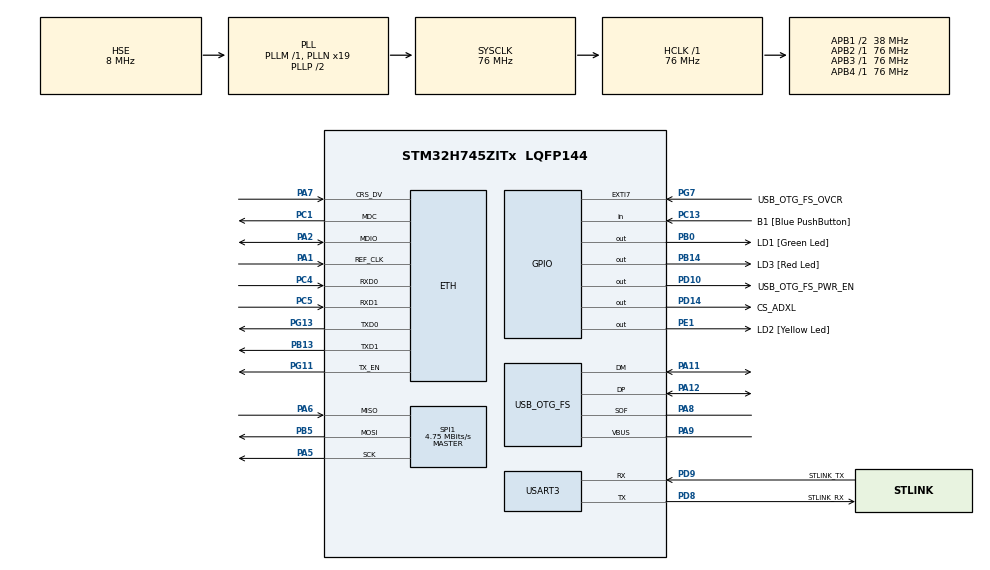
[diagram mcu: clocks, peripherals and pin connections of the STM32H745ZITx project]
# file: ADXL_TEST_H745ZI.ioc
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CortexM4.IPs=FATFS_M4\:I,FREERTOS_M4\:I,IWDG2\:I,RCC,WWDG2\:I,DMA,BDMA,MDMA,NVIC2\:I,USART3,ETH,DEBUG,USB_DEVICE_M4\:I,USB_HOST_M4\:I,PDM2PCM_M4\:I,PWR,RESMGR_UTILITY,SYS_M4\:I,CORTEX_M4\:I,OPENAMP_M4\:I,VREFBUF,GPIO
CortexM7.IPs=FATFS_M7\:I,FREERTOS_M7\:I,IWDG1\:I,RCC\:I,WWDG1\:I,DMA\:I,BDMA\:I,MDMA\:I,NVIC1\:I,SYS\:I,USART3\:I,USB_OTG_FS\:I,ETH\:I,CORTEX_M7\:I,DEBUG\:I,USB_DEVICE_M7\:I,USB_HOST_M7\:I,PDM2PCM_M7\:I,PWR\:I,RESMGR_UTILITY\:I,OPENAMP_M7\:I,VREFBUF\:I,SPI1\:I,GPIO\:I
CortexM7.Pins=PD14
ETH.MediaInterface=HAL_ETH_RMII_MODE
Mcu.Family=STM32H7
Mcu.Name=STM32H745ZITx
Mcu.Package=LQFP144
NVIC1.PriorityGroup=NVIC_PRIORITYGROUP_4
NVIC2.PriorityGroup=NVIC_PRIORITYGROUP_4
PA1.Mode=RMII
PA1.PinAttribute=CortexM7
PA1.Signal=ETH_REF_CLK
PA11.Mode=Device_Only
PA11.PinAttribute=CortexM7
PA11.Signal=USB_OTG_FS_DM
PA12.Mode=Device_Only
PA12.PinAttribute=CortexM7
PA12.Signal=USB_OTG_FS_DP
PA2.Mode=RMII
PA2.PinAttribute=CortexM7
PA2.Signal=ETH_MDIO
PA5.Mode=Full_Duplex_Master
PA5.PinAttribute=CortexM7
PA5.Signal=SPI1_SCK
PA6.Mode=Full_Duplex_Master
PA6.PinAttribute=CortexM7
PA6.Signal=SPI1_MISO
PA7.Mode=RMII
PA7.PinAttribute=CortexM7
PA7.Signal=ETH_CRS_DV
PA8.Mode=Activate_SOF_FS
PA8.PinAttribute=CortexM7
PA8.Signal=USB_OTG_FS_SOF
PA9.Mode=Activate_VBUS
PA9.PinAttribute=CortexM7
PA9.Signal=USB_OTG_FS_VBUS
PB0.GPIO_Label=LD1 [Green Led]
PB0.PinAttribute=Free
PB0.Signal=GPIO_Output
PB13.Mode=RMII
PB13.PinAttribute=CortexM7
PB13.Signal=ETH_TXD1
PB14.GPIO_Label=LD3 [Red Led]
PB14.PinAttribute=Free
PB14.Signal=GPIO_Output
PB5.Mode=Full_Duplex_Master
PB5.PinAttribute=CortexM7
PB5.Signal=SPI1_MOSI
PC1.Mode=RMII
PC1.PinAttribute=CortexM7
PC1.Signal=ETH_MDC
PC13.GPIO_Label=B1 [Blue PushButton]
PC13.PinAttribute=Free
PC13.Signal=GPIO_Input
PC14-OSC32_IN\ (OSC32_IN).Mode=LSE-External-Oscillator
PC14-OSC32_IN\ (OSC32_IN).PinAttribute=CortexM7
PC14-OSC32_IN\ (OSC32_IN).Signal=RCC_OSC32_IN
PC15-OSC32_OUT\ (OSC32_OUT).Mode=LSE-External-Oscillator
PC15-OSC32_OUT\ (OSC32_OUT).PinAttribute=CortexM7
PC15-OSC32_OUT\ (OSC32_OUT).Signal=RCC_OSC32_OUT
PC4.Mode=RMII
PC4.PinAttribute=CortexM7
PC4.Signal=ETH_RXD0
PC5.Mode=RMII
PC5.PinAttribute=CortexM7
PC5.Signal=ETH_RXD1
PD10.GPIO_Label=USB_OTG_FS_PWR_EN
PD10.PinAttribute=Free
PD10.Signal=GPIO_Output
PD14.GPIO_Label=CS_ADXL
PD14.PinAttribute=CortexM7
PD14.PinState=GPIO_PIN_RESET
PD14.Signal=GPIO_Output
PD8.GPIO_Label=STLINK_RX
PD8.Mode=Asynchronous
PD8.PinAttribute=CortexM7
PD8.Signal=USART3_TX
PD9.GPIO_Label=STLINK_TX
PD9.Mode=Asynchronous
PD9.PinAttribute=CortexM7
PD9.Signal=USART3_RX
PE1.GPIO_Label=LD2 [Yellow Led]
PE1.PinAttribute=Free
PE1.Signal=GPIO_Output
PG11.Mode=RMII
PG11.PinAttribute=CortexM7
PG11.Signal=ETH_TX_EN
PG13.Mode=RMII
PG13.PinAttribute=CortexM7
PG13.Signal=ETH_TXD0
PG7.GPIO_Label=USB_OTG_FS_OVCR
PG7.PinAttribute=Free
PG7.Signal=GPXTI7
PH0-OSC_IN\ (PH0).Mode=HSE-External-Clock-Source
PH0-OSC_IN\ (PH0).PinAttribute=CortexM7
PH0-OSC_IN\ (PH0).Signal=RCC_OSC_IN
PH1-OSC_OUT\ (PH1).PinAttribute=CortexM7
PH1-OSC_OUT\ (PH1).Signal=RCC_OSC_OUT
ProjectManager.HeapSize=M4-0x200,M7-0x200
ProjectManager.StackSize=M4-0x400,M7-0x400
ProjectManager.TargetToolchain=STM32CubeIDE
RCC.ADCFreq_Value=16125000
RCC.APB1Freq_Value=38000000
RCC.APB2Freq_Value=76000000
RCC.APB3Freq_Value=76000000
RCC.APB4Freq_Value=76000000
RCC.CortexFreq_Value=76000000
RCC.D2PPRE1=RCC_APB1_DIV2
RCC.DATA_CACHE_ENABLE=0
RCC.DIVM1=1
RCC.DIVM3=1
RCC.DIVN1=19
RCC.DIVN3=19
RCC.DIVQ3=3
RCC.HCLKFreq_Value=76000000
RCC.HSE_VALUE=8000000
RCC.INSTRUCTION_CACHE_ENABLE=0
RCC.PREFETCH_ENABLE=1
RCC.SYSCLKFreq_VALUE=76000000
RCC.SYSCLKSource=RCC_SYSCLKSOURCE_PLLCLK
RCC.SupplySource=PWR_DIRECT_SMPS_SUPPLY
RCC.USBCLockSelection=RCC_USBCLKSOURCE_PLL3
RCC.USBFreq_Value=50666666.666666664
SPI1.BaudRatePrescaler=SPI_BAUDRATEPRESCALER_16
SPI1.CalculateBaudRate=4.75 MBits/s
SPI1.DataSize=SPI_DATASIZE_8BIT
SPI1.Direction=SPI_DIRECTION_2LINES
SPI1.Mode=SPI_MODE_MASTER
SPI1.VirtualType=VM_MASTER
USART3.VirtualMode-Asynchronous=VM_ASYNC
USB_OTG_FS.VirtualMode=Device_Only
VP_SYS_M4_VS_Systick.Mode=SysTick
board=NUCLEO-H745ZI-Q

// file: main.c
/* USER CODE BEGIN Header */
/**
  ******************************************************************************
  * @file           : main.c
  * @brief          : Main program body
  ******************************************************************************
  * @attention
  *
  * Copyright (c) 2022 STMicroelectronics.
  * All rights reserved.
  *
  * This software is licensed under terms that can be found in the LICENSE file
  * in the root directory of this software component.
  * If no LICENSE file comes with this software, it is provided AS-IS.
  *
  ******************************************************************************
  */
/* USER CODE END Header */
#include "main.h"
#include "string.h"

/* USER CODE BEGIN Includes */
#include "stdlib.h"
#include "stdio.h"
#include "math.h"
#include "ADXL355.h"
/* USER CODE END Includes */

/* USER CODE BEGIN PD */

#ifndef HSEM_ID_0
#define HSEM_ID_0 (0U) /* HW semaphore 0*/
#endif
/* USER CODE END PD */

#if defined ( __ICCARM__ ) /*!< IAR Compiler */
#pragma location=0x30000000
ETH_DMADescTypeDef  DMARxDscrTab[ETH_RX_DESC_CNT]; /* Ethernet Rx DMA Descriptors */
#pragma location=0x30000200
ETH_DMADescTypeDef  DMATxDscrTab[ETH_TX_DESC_CNT]; /* Ethernet Tx DMA Descriptors */
#pragma location=0x30000260
uint8_t Rx_Buff[ETH_RX_DESC_CNT][ETH_MAX_PACKET_SIZE]; /* Ethernet Receive Buffers */

#elif defined ( __CC_ARM )  /* MDK ARM Compiler */

__attribute__((at(0x30000000))) ETH_DMADescTypeDef  DMARxDscrTab[ETH_RX_DESC_CNT]; /* Ethernet Rx DMA Descriptors */
__attribute__((at(0x30000200))) ETH_DMADescTypeDef  DMATxDscrTab[ETH_TX_DESC_CNT]; /* Ethernet Tx DMA Descriptors */
__attribute__((at(0x30000260))) uint8_t Rx_Buff[ETH_RX_DESC_CNT][ETH_MAX_PACKET_SIZE]; /* Ethernet Receive Buffer */

#elif defined ( __GNUC__ ) /* GNU Compiler */
ETH_DMADescTypeDef DMARxDscrTab[ETH_RX_DESC_CNT] __attribute__((section(".RxDecripSection"))); /* Ethernet Rx DMA Descriptors */
ETH_DMADescTypeDef DMATxDscrTab[ETH_TX_DESC_CNT] __attribute__((section(".TxDecripSection")));   /* Ethernet Tx DMA Descriptors */
uint8_t Rx_Buff[ETH_RX_DESC_CNT][ETH_MAX_PACKET_SIZE] __attribute__((section(".RxArraySection"))); /* Ethernet Receive Buffers */
#endif

ETH_TxPacketConfig TxConfig;

ETH_HandleTypeDef heth;

SPI_HandleTypeDef hspi1;

UART_HandleTypeDef huart3;

PCD_HandleTypeDef hpcd_USB_OTG_FS;

void SystemClock_Config(void);
static void MX_GPIO_Init(void);
static void MX_ETH_Init(void);
static void MX_USART3_UART_Init(void);
static void MX_USB_OTG_FS_PCD_Init(void);
static void MX_SPI1_Init(void);

int main(void)
{
/* USER CODE BEGIN Boot_Mode_Sequence_0 */
  int32_t timeout;
/* USER CODE END Boot_Mode_Sequence_0 */

/* USER CODE BEGIN Boot_Mode_Sequence_1 */
  /* Wait until CPU2 boots and enters in stop mode or timeout*/
  timeout = 0xFFFF;
  while((__HAL_RCC_GET_FLAG(RCC_FLAG_D2CKRDY) != RESET) && (timeout-- > 0));
  if ( timeout < 0 )
  {
  Error_Handler();
  }
/* USER CODE END Boot_Mode_Sequence_1 */
  /* MCU Configuration--------------------------------------------------------*/

  /* Reset of all peripherals, Initializes the Flash interface and the Systick. */
  HAL_Init();

  /* Configure the system clock */
  SystemClock_Config();
/* USER CODE BEGIN Boot_Mode_Sequence_2 */
/* When system initialization is finished, Cortex-M7 will release Cortex-M4 by means of
HSEM notification */
/*HW semaphore Clock enable*/
__HAL_RCC_HSEM_CLK_ENABLE();
/*Take HSEM */
HAL_HSEM_FastTake(HSEM_ID_0);
/*Release HSEM in order to notify the CPU2(CM4)*/
HAL_HSEM_Release(HSEM_ID_0,0);
/* wait until CPU2 wakes up from stop mode */
timeout = 0xFFFF;
while((__HAL_RCC_GET_FLAG(RCC_FLAG_D2CKRDY) == RESET) && (timeout-- > 0));
if ( timeout < 0 )
{
Error_Handler();
}
/* USER CODE END Boot_Mode_Sequence_2 */

  /* Initialize all configured peripherals */
  MX_GPIO_Init();
  MX_ETH_Init();
  MX_USART3_UART_Init();
  MX_USB_OTG_FS_PCD_Init();
  MX_SPI1_Init();
  /* USER CODE BEGIN 2 */

  // CS should be default set HIGH
  HAL_GPIO_WritePin(GPIOD, GPIO_PIN_14, GPIO_PIN_SET);

  // Initialize the ADXL355
  ADXL355_Init();

  // Set ADXL355 range (2, 4 or 8 g)
  ADXL355_Set_Range(2);

  // Set the ADXL355 in measurement mode
  ADXL355_Start_Sensor();

  /* USER CODE END 2 */

  /* Infinite loop */
  /* USER CODE BEGIN WHILE */
  while (1)
  {
	  ADXL355_Data_Scan();

    /* USER CODE END WHILE */

  }
}

void SystemClock_Config(void)
{
  RCC_OscInitTypeDef RCC_OscInitStruct = {0};
  RCC_ClkInitTypeDef RCC_ClkInitStruct = {0};

  /** Supply configuration update enable
  */
  HAL_PWREx_ConfigSupply(PWR_DIRECT_SMPS_SUPPLY);

  /** Configure the main internal regulator output voltage
  */
  __HAL_PWR_VOLTAGESCALING_CONFIG(PWR_REGULATOR_VOLTAGE_SCALE3);

  while(!__HAL_PWR_GET_FLAG(PWR_FLAG_VOSRDY)) {}

  /** Macro to configure the PLL clock source
  */
  __HAL_RCC_PLL_PLLSOURCE_CONFIG(RCC_PLLSOURCE_HSE);

  /** Initializes the RCC Oscillators according to the specified parameters
  * in the RCC_OscInitTypeDef structure.
  */
  RCC_OscInitStruct.OscillatorType = RCC_OSCILLATORTYPE_HSE;
  RCC_OscInitStruct.HSEState = RCC_HSE_BYPASS;
  RCC_OscInitStruct.PLL.PLLState = RCC_PLL_ON;
  RCC_OscInitStruct.PLL.PLLSource = RCC_PLLSOURCE_HSE;
  RCC_OscInitStruct.PLL.PLLM = 1;
  RCC_OscInitStruct.PLL.PLLN = 19;
  RCC_OscInitStruct.PLL.PLLP = 2;
  RCC_OscInitStruct.PLL.PLLQ = 2;
  RCC_OscInitStruct.PLL.PLLR = 2;
  RCC_OscInitStruct.PLL.PLLRGE = RCC_PLL1VCIRANGE_3;
  RCC_OscInitStruct.PLL.PLLVCOSEL = RCC_PLL1VCOMEDIUM;
  RCC_OscInitStruct.PLL.PLLFRACN = 0;
  if (HAL_RCC_OscConfig(&RCC_OscInitStruct) != HAL_OK)
  {
    Error_Handler();
  }

  /** Initializes the CPU, AHB and APB buses clocks
  */
  RCC_ClkInitStruct.ClockType = RCC_CLOCKTYPE_HCLK|RCC_CLOCKTYPE_SYSCLK
                              |RCC_CLOCKTYPE_PCLK1|RCC_CLOCKTYPE_PCLK2
                              |RCC_CLOCKTYPE_D3PCLK1|RCC_CLOCKTYPE_D1PCLK1;
  RCC_ClkInitStruct.SYSCLKSource = RCC_SYSCLKSOURCE_PLLCLK;
  RCC_ClkInitStruct.SYSCLKDivider = RCC_SYSCLK_DIV1;
  RCC_ClkInitStruct.AHBCLKDivider = RCC_HCLK_DIV1;
  RCC_ClkInitStruct.APB3CLKDivider = RCC_APB3_DIV1;
  RCC_ClkInitStruct.APB1CLKDivider = RCC_APB1_DIV2;
  RCC_ClkInitStruct.APB2CLKDivider = RCC_APB2_DIV1;
  RCC_ClkInitStruct.APB4CLKDivider = RCC_APB4_DIV1;

  if (HAL_RCC_ClockConfig(&RCC_ClkInitStruct, FLASH_LATENCY_1) != HAL_OK)
  {
    Error_Handler();
  }
}

static void MX_ETH_Init(void)
{

   static uint8_t MACAddr[6];

  heth.Instance = ETH;
  MACAddr[0] = 0x00;
  MACAddr[1] = 0x80;
  MACAddr[2] = 0xE1;
  MACAddr[3] = 0x00;
  MACAddr[4] = 0x00;
  MACAddr[5] = 0x00;
  heth.Init.MACAddr = &MACAddr[0];
  heth.Init.MediaInterface = HAL_ETH_RMII_MODE;
  heth.Init.TxDesc = DMATxDscrTab;
  heth.Init.RxDesc = DMARxDscrTab;
  heth.Init.RxBuffLen = 1524;

  if (HAL_ETH_Init(&heth) != HAL_OK)
  {
    Error_Handler();
  }

  memset(&TxConfig, 0 , sizeof(ETH_TxPacketConfig));
  TxConfig.Attributes = ETH_TX_PACKETS_FEATURES_CSUM | ETH_TX_PACKETS_FEATURES_CRCPAD;
  TxConfig.ChecksumCtrl = ETH_CHECKSUM_IPHDR_PAYLOAD_INSERT_PHDR_CALC;
  TxConfig.CRCPadCtrl = ETH_CRC_PAD_INSERT;

}

static void MX_SPI1_Init(void)
{

  /* SPI1 parameter configuration*/
  hspi1.Instance = SPI1;
  hspi1.Init.Mode = SPI_MODE_MASTER;
  hspi1.Init.Direction = SPI_DIRECTION_2LINES;
  hspi1.Init.DataSize = SPI_DATASIZE_8BIT;
  hspi1.Init.CLKPolarity = SPI_POLARITY_LOW;
  hspi1.Init.CLKPhase = SPI_PHASE_1EDGE;
  hspi1.Init.NSS = SPI_NSS_SOFT;
  hspi1.Init.BaudRatePrescaler = SPI_BAUDRATEPRESCALER_16;
  hspi1.Init.FirstBit = SPI_FIRSTBIT_MSB;
  hspi1.Init.TIMode = SPI_TIMODE_DISABLE;
  hspi1.Init.CRCCalculation = SPI_CRCCALCULATION_DISABLE;
  hspi1.Init.CRCPolynomial = 0x0;
  hspi1.Init.NSSPMode = SPI_NSS_PULSE_ENABLE;
  hspi1.Init.NSSPolarity = SPI_NSS_POLARITY_LOW;
  hspi1.Init.FifoThreshold = SPI_FIFO_THRESHOLD_01DATA;
  hspi1.Init.TxCRCInitializationPattern = SPI_CRC_INITIALIZATION_ALL_ZERO_PATTERN;
  hspi1.Init.RxCRCInitializationPattern = SPI_CRC_INITIALIZATION_ALL_ZERO_PATTERN;
  hspi1.Init.MasterSSIdleness = SPI_MASTER_SS_IDLENESS_00CYCLE;
  hspi1.Init.MasterInterDataIdleness = SPI_MASTER_INTERDATA_IDLENESS_00CYCLE;
  hspi1.Init.MasterReceiverAutoSusp = SPI_MASTER_RX_AUTOSUSP_DISABLE;
  hspi1.Init.MasterKeepIOState = SPI_MASTER_KEEP_IO_STATE_DISABLE;
  hspi1.Init.IOSwap = SPI_IO_SWAP_DISABLE;
  if (HAL_SPI_Init(&hspi1) != HAL_OK)
  {
    Error_Handler();
  }

}

static void MX_USART3_UART_Init(void)
{

  huart3.Instance = USART3;
  huart3.Init.BaudRate = 115200;
  huart3.Init.WordLength = UART_WORDLENGTH_8B;
  huart3.Init.StopBits = UART_STOPBITS_1;
  huart3.Init.Parity = UART_PARITY_NONE;
  huart3.Init.Mode = UART_MODE_TX_RX;
  huart3.Init.HwFlowCtl = UART_HWCONTROL_NONE;
  huart3.Init.OverSampling = UART_OVERSAMPLING_16;
  huart3.Init.OneBitSampling = UART_ONE_BIT_SAMPLE_DISABLE;
  huart3.Init.ClockPrescaler = UART_PRESCALER_DIV1;
  huart3.AdvancedInit.AdvFeatureInit = UART_ADVFEATURE_NO_INIT;
  if (HAL_UART_Init(&huart3) != HAL_OK)
  {
    Error_Handler();
  }
  if (HAL_UARTEx_SetTxFifoThreshold(&huart3, UART_TXFIFO_THRESHOLD_1_8) != HAL_OK)
  {
    Error_Handler();
  }
  if (HAL_UARTEx_SetRxFifoThreshold(&huart3, UART_RXFIFO_THRESHOLD_1_8) != HAL_OK)
  {
    Error_Handler();
  }
  if (HAL_UARTEx_DisableFifoMode(&huart3) != HAL_OK)
  {
    Error_Handler();
  }

}

static void MX_USB_OTG_FS_PCD_Init(void)
{

  hpcd_USB_OTG_FS.Instance = USB_OTG_FS;
  hpcd_USB_OTG_FS.Init.dev_endpoints = 9;
  hpcd_USB_OTG_FS.Init.speed = PCD_SPEED_FULL;
  hpcd_USB_OTG_FS.Init.dma_enable = DISABLE;
  hpcd_USB_OTG_FS.Init.phy_itface = PCD_PHY_EMBEDDED;
  hpcd_USB_OTG_FS.Init.Sof_enable = DISABLE;
  hpcd_USB_OTG_FS.Init.low_power_enable = DISABLE;
  hpcd_USB_OTG_FS.Init.lpm_enable = DISABLE;
  hpcd_USB_OTG_FS.Init.battery_charging_enable = ENABLE;
  hpcd_USB_OTG_FS.Init.vbus_sensing_enable = ENABLE;
  hpcd_USB_OTG_FS.Init.use_dedicated_ep1 = DISABLE;
  if (HAL_PCD_Init(&hpcd_USB_OTG_FS) != HAL_OK)
  {
    Error_Handler();
  }

}

static void MX_GPIO_Init(void)
{
  GPIO_InitTypeDef GPIO_InitStruct = {0};

  /* GPIO Ports Clock Enable */
  __HAL_RCC_GPIOC_CLK_ENABLE();
  __HAL_RCC_GPIOH_CLK_ENABLE();
  __HAL_RCC_GPIOA_CLK_ENABLE();
  __HAL_RCC_GPIOB_CLK_ENABLE();
  __HAL_RCC_GPIOD_CLK_ENABLE();
  __HAL_RCC_GPIOG_CLK_ENABLE();

  /*Configure GPIO pin Output Level */
  HAL_GPIO_WritePin(CS_ADXL_GPIO_Port, CS_ADXL_Pin, GPIO_PIN_RESET);

  /*Configure GPIO pin : CS_ADXL_Pin */
  GPIO_InitStruct.Pin = CS_ADXL_Pin;
  GPIO_InitStruct.Mode = GPIO_MODE_OUTPUT_PP;
  GPIO_InitStruct.Pull = GPIO_NOPULL;
  GPIO_InitStruct.Speed = GPIO_SPEED_FREQ_LOW;
  HAL_GPIO_Init(CS_ADXL_GPIO_Port, &GPIO_InitStruct);

}

/* USER CODE BEGIN 4 */

uint32_t ADXL355_SPI_Read(uint8_t ui8address) {

	HAL_StatusTypeDef status;
	uint8_t recieveData;
	uint8_t txData;

	txData = (ui8address << 1) | 1 ;

	HAL_GPIO_WritePin(GPIOD, GPIO_PIN_14, GPIO_PIN_RESET); // ADXL355 - ON

	status = HAL_SPI_Transmit (&hspi1, &txData, 1, 100);

	status = HAL_SPI_Receive (&hspi1, &recieveData, 1, 100);

	HAL_GPIO_WritePin(GPIOD, GPIO_PIN_14, GPIO_PIN_SET); // ADXL355 - OFF

	if (status == HAL_OK){
		return recieveData;
	}else
		printf("\r\nError Reading: Invalid HAL_STATUS\r\n");

	return 255;
}

void ADXL355_SPI_Write(uint8_t ui8address, uint8_t ui8Data, enWriteData enMode) {

	HAL_StatusTypeDef status;
	uint8_t address;

	address = ((ui8address << 1) & 0xFE);

	HAL_GPIO_WritePin(GPIOD, GPIO_PIN_14, GPIO_PIN_RESET); // ADXL355 - ON

	status = HAL_SPI_Transmit (&hspi1, &address, 1, 100);
	status = HAL_SPI_Transmit (&hspi1, &ui8Data, 1, 100);

	HAL_GPIO_WritePin(GPIOD, GPIO_PIN_14, GPIO_PIN_SET); //ADXL355 - OFF

	if (status != HAL_OK)
		printf("\r\nError writing: Invalid HAL STATUS\r\n");

}

// This function convert the acquired data into the 0 - 4095 range supported from DAC7551

int Data_Conversion(int data){

	int cdata;
	cdata = (data * 4095)/0xF;

	return cdata;
}

void DAC7551_Write(int txData){

	HAL_StatusTypeDef status;

	HAL_GPIO_WritePin(GPIOA, GPIO_PIN_11, GPIO_PIN_RESET); // DAC U1 - ON

	status = HAL_SPI_Transmit (&hspi2, &txData, 1, 100);

	HAL_GPIO_WritePin(GPIOA, GPIO_PIN_11, GPIO_PIN_SET); // DAC U1 - OFF

	if (status != HAL_OK){
		printf("\r\nError writing: Invalid HAL STATUS\r\n");
	}else printf("\n\r%d\n\r", txData);

}

//These two functions below allow us to use printf on the STM32 controller though stdio.h
//Do not modify

int __io_putchar(int ch) {
	uint8_t c[1];
	c[0] = ch & 0x00FF;
	HAL_UART_Transmit(&huart3, &*c, 1, 10);
	return ch;
}
int _write(int file, char *ptr, int len) {
	int DataIdx;
	for(DataIdx= 0; DataIdx < len; DataIdx++)
		__io_putchar(*ptr++);
return len;
}
/* USER CODE END 4 */

void Error_Handler(void)
{
  __disable_irq();
  while (1)
  {
  }
}
